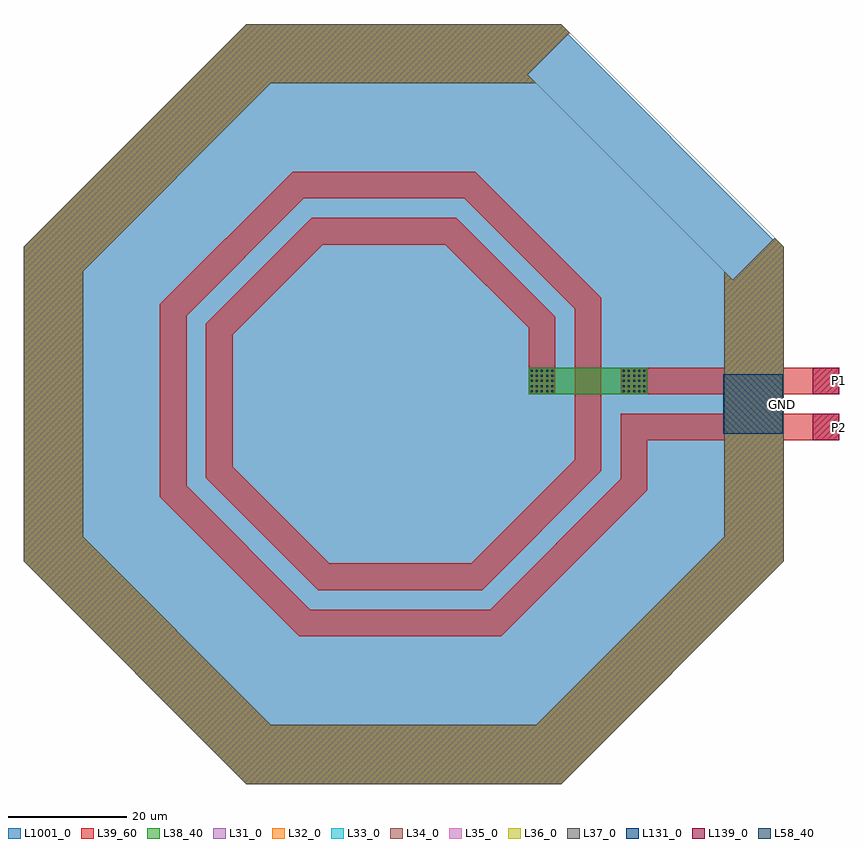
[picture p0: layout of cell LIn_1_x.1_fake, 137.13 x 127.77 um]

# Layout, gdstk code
import gdstk
lib = gdstk.Library(unit=1e-6, precision=1e-09)
def R(c, l, rs):  # rectangles x0, y0, x1, y1
    for r in rs: c.add(gdstk.rectangle(r[:2], r[2:], *l))
def A(c, l, x, y, w, h, nx, ny, dx, dy):  # array of equal rectangles
    R(c, l, [(x+i*dx, y+j*dy, x+i*dx+w, y+j*dy+h) for i in range(nx) for j in range(ny)])
def P(c, l, *ps):  # polygons
    for p in ps: c.add(gdstk.Polygon(p, *l))
L31_0 = (31, 0)
L32_0 = (32, 0)
L33_0 = (33, 0)
L34_0 = (34, 0)
L35_0 = (35, 0)
L36_0 = (36, 0)
L37_0 = (37, 0)
L38_40 = (38, 40)
L39_60 = (39, 60)
L58_40 = (58, 40)
L131_0 = (131, 0)
L139_0 = (139, 0)
L1001_0 = (1001, 0)

lin_1_x_1_fake = lib.new_cell('LIn_1_x.1_fake')
P(lin_1_x_1_fake, L31_0, [(55.351,20.856),(62.422,27.927),(26.463,63.886),(-26.463,63.886),(-63.886,26.463),(-63.886,-26.463),(-26.463,-63.886),(26.463,-63.886),(63.886,-26.463),(63.886,26.463),(27.927,62.422),(20.856,55.351),(53.886,22.32),(53.886,-22.32),(22.32,-53.886),(-22.32,-53.886),(-53.886,-22.32),(-53.886,22.32),(-22.32,53.886),(22.32,53.886)])
P(lin_1_x_1_fake, L32_0, [(55.351,20.856),(62.422,27.927),(26.463,63.886),(-26.463,63.886),(-63.886,26.463),(-63.886,-26.463),(-26.463,-63.886),(26.463,-63.886),(63.886,-26.463),(63.886,26.463),(27.927,62.422),(20.856,55.351),(53.886,22.32),(53.886,-22.32),(22.32,-53.886),(-22.32,-53.886),(-53.886,-22.32),(-53.886,22.32),(-22.32,53.886),(22.32,53.886)])
P(lin_1_x_1_fake, L33_0, [(55.351,20.856),(62.422,27.927),(26.463,63.886),(-26.463,63.886),(-63.886,26.463),(-63.886,-26.463),(-26.463,-63.886),(26.463,-63.886),(63.886,-26.463),(63.886,26.463),(27.927,62.422),(20.856,55.351),(53.886,22.32),(53.886,-22.32),(22.32,-53.886),(-22.32,-53.886),(-53.886,-22.32),(-53.886,22.32),(-22.32,53.886),(22.32,53.886)])
P(lin_1_x_1_fake, L34_0, [(55.351,20.856),(62.422,27.927),(26.463,63.886),(-26.463,63.886),(-63.886,26.463),(-63.886,-26.463),(-26.463,-63.886),(26.463,-63.886),(63.886,-26.463),(63.886,26.463),(27.927,62.422),(20.856,55.351),(53.886,22.32),(53.886,-22.32),(22.32,-53.886),(-22.32,-53.886),(-53.886,-22.32),(-53.886,22.32),(-22.32,53.886),(22.32,53.886)])
P(lin_1_x_1_fake, L35_0, [(55.351,20.856),(62.422,27.927),(26.463,63.886),(-26.463,63.886),(-63.886,26.463),(-63.886,-26.463),(-26.463,-63.886),(26.463,-63.886),(63.886,-26.463),(63.886,26.463),(27.927,62.422),(20.856,55.351),(53.886,22.32),(53.886,-22.32),(22.32,-53.886),(-22.32,-53.886),(-53.886,-22.32),(-53.886,22.32),(-22.32,53.886),(22.32,53.886)])
P(lin_1_x_1_fake, L36_0, [(55.351,20.856),(62.422,27.927),(26.463,63.886),(-26.463,63.886),(-63.886,26.463),(-63.886,-26.463),(-26.463,-63.886),(26.463,-63.886),(63.886,-26.463),(63.886,26.463),(27.927,62.422),(20.856,55.351),(53.886,22.32),(53.886,-22.32),(22.32,-53.886),(-22.32,-53.886),(-53.886,-22.32),(-53.886,22.32),(-22.32,53.886),(22.32,53.886)])
P(lin_1_x_1_fake, L37_0, [(55.351,20.856),(62.422,27.927),(26.463,63.886),(-26.463,63.886),(-63.886,26.463),(-63.886,-26.463),(-26.463,-63.886),(26.463,-63.886),(63.886,-26.463),(63.886,26.463),(27.927,62.422),(20.856,55.351),(53.886,22.32),(53.886,-22.32),(22.32,-53.886),(-22.32,-53.886),(-53.886,-22.32),(-53.886,22.32),(-22.32,53.886),(22.32,53.886)])
R(lin_1_x_1_fake, L38_40, [(20.99,1.625,40.99,6.125)])
P(lin_1_x_1_fake, L38_40, [(55.351,20.856),(62.422,27.927),(26.463,63.886),(-26.463,63.886),(-63.886,26.463),(-63.886,-26.463),(-26.463,-63.886),(26.463,-63.886),(63.886,-26.463),(63.886,26.463),(27.927,62.422),(20.856,55.351),(53.886,22.32),(53.886,-22.32),(22.32,-53.886),(-22.32,-53.886),(-53.886,-22.32),(-53.886,22.32),(-22.32,53.886),(22.32,53.886)])
R(lin_1_x_1_fake, L39_60, [(36.49,-6.125,73.24,-1.625), (36.49,1.625,73.24,6.125)])
P(lin_1_x_1_fake, L39_60, [(20.99,1.625),(25.49,1.625),(25.49,14.667),(8.857,31.3),(-15.472,31.3),(-33.24,13.532),(-33.24,-12.397),(-14.337,-31.3),(13.202,-31.3),(33.24,-11.262),(33.24,17.877),(12.067,39.05),(-18.682,39.05),(-40.99,16.742),(-40.99,-15.607),(-17.547,-39.05),(16.412,-39.05),(40.99,-14.472),(40.99,-3.875),(36.49,-3.875),(36.49,-12.608),(14.548,-34.55),(-15.683,-34.55),(-36.49,-13.743),(-36.49,14.878),(-16.818,34.55),(10.203,34.55),(28.74,16.013),(28.74,-9.398),(11.338,-26.8),(-12.473,-26.8),(-28.74,-10.533),(-28.74,11.668),(-13.608,26.8),(6.993,26.8),(20.99,12.803)],
  [(55.351,20.856),(62.422,27.927),(26.463,63.886),(-26.463,63.886),(-63.886,26.463),(-63.886,-26.463),(-26.463,-63.886),(26.463,-63.886),(63.886,-26.463),(63.886,26.463),(27.927,62.422),(20.856,55.351),(53.886,22.32),(53.886,-22.32),(22.32,-53.886),(-22.32,-53.886),(-53.886,-22.32),(-53.886,22.32),(-22.32,53.886),(22.32,53.886)])
A(lin_1_x_1_fake, L58_40, 21.323, 1.96, 0.35, 0.35, 5, 5, 0.87, 0.87)
A(lin_1_x_1_fake, L58_40, 36.823, 1.96, 0.35, 0.35, 5, 5, 0.87, 0.87)
R(lin_1_x_1_fake, L131_0, [(53.74,-5,63.74,5)])
R(lin_1_x_1_fake, L139_0, [(68.74,-6.125,73.24,-1.625), (68.74,1.625,73.24,6.125)])
P(lin_1_x_1_fake, L1001_0, [(63.506,26.305),(26.305,63.506),(-26.305,63.506),(-63.506,26.305),(-63.506,-26.305),(-26.305,-63.506),(26.305,-63.506),(63.506,-26.305)],
  [(63.506,26.305),(26.305,63.506),(-26.305,63.506),(-63.506,26.305),(-63.506,-26.305),(-26.305,-63.506),(26.305,-63.506),(63.506,-26.305)],
  [(63.506,26.305),(26.305,63.506),(-26.305,63.506),(-63.506,26.305),(-63.506,-26.305),(-26.305,-63.506),(26.305,-63.506),(63.506,-26.305)],
  [(63.506,26.305),(26.305,63.506),(-26.305,63.506),(-63.506,26.305),(-63.506,-26.305),(-26.305,-63.506),(26.305,-63.506),(63.506,-26.305)],
  [(63.506,26.305),(26.305,63.506),(-26.305,63.506),(-63.506,26.305),(-63.506,-26.305),(-26.305,-63.506),(26.305,-63.506),(63.506,-26.305)],
  [(63.506,26.305),(26.305,63.506),(-26.305,63.506),(-63.506,26.305),(-63.506,-26.305),(-26.305,-63.506),(26.305,-63.506),(63.506,-26.305)],
  [(63.506,26.305),(26.305,63.506),(-26.305,63.506),(-63.506,26.305),(-63.506,-26.305),(-26.305,-63.506),(26.305,-63.506),(63.506,-26.305)],
  [(63.506,26.305),(26.305,63.506),(-26.305,63.506),(-63.506,26.305),(-63.506,-26.305),(-26.305,-63.506),(26.305,-63.506),(63.506,-26.305)],
  [(63.506,26.305),(26.305,63.506),(-26.305,63.506),(-63.506,26.305),(-63.506,-26.305),(-26.305,-63.506),(26.305,-63.506),(63.506,-26.305)])
lin_1_x_1_fake.add(gdstk.Label('P1', (73.238,3.875), layer=139, texttype=0))
lin_1_x_1_fake.add(gdstk.Label('P2', (73.238,-3.875), layer=139, texttype=0))
lin_1_x_1_fake.add(gdstk.Label('GND', (63.738,0), layer=131, texttype=0))

lib.write_gds('LIn_1_x.1_fake.gds')
